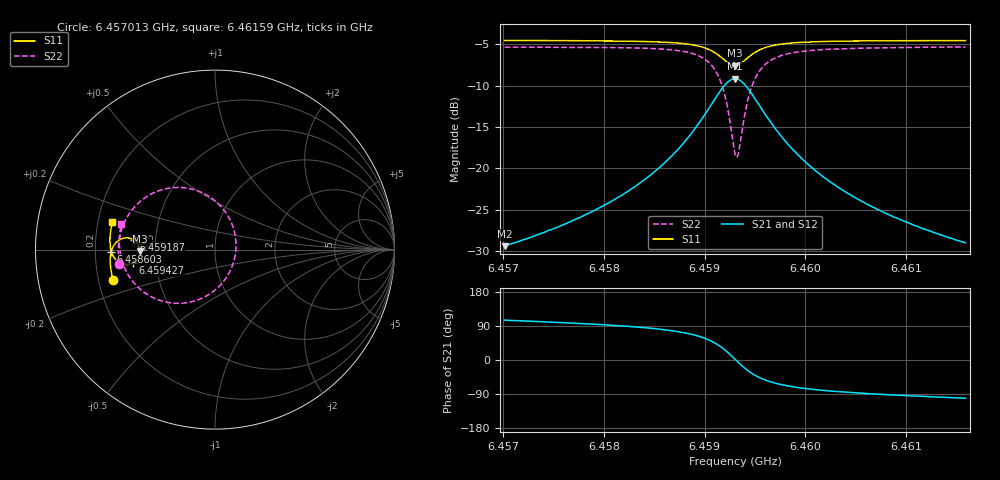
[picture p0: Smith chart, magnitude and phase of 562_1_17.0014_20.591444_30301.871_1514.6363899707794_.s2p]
#  HZ  S  RI  R  50.00
! Rohde & Schwarz Vector Network Analyzer
! Rohde-Schwarz,ZNB20-2Port,1311601062101988,3.16
! Created: UTC 3/20/2024, 11:17:14 PM
! freq[Hz]  re:S11  im:S11  re:S21  im:S21  re:S12  im:S12  re:S22  im:S22
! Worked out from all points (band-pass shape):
!   401 points, 6.457013 GHz to 6.46159 GHz, reference 50 ohm
!   highest |S21| = -9.17 dB at 6.459301 GHz (marker M1); lowest = -29.4 dB at 6.457013 GHz (marker M2)
!   |S21| within 3 dB of the highest: 6.459073 GHz to 6.45953 GHz (457.8 kHz wide, 0.00709 % of centre)
!   lowest |S11| = -7.6 dB at 6.459301 GHz (marker M3), VSWR 2.43, Z = 20.6 - j0.449 ohm
!   |S11| at or under -10 dB: nowhere
!   |S22| runs from -18.7 to -5.3 dB; largest |S21 - S12| = 0.014
!   S11 on the Smith chart (normalised r, x): 6.457013 GHz: 0.26, -0.14; 6.458603 GHz: 0.27, -0.01; 6.459187 GHz: 0.37, +0.05; 6.459427 GHz: 0.37, -0.07; 6.46159 GHz: 0.26, +0.12
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6.4570128e9  -0.5674 -0.1695  -0.0088 0.0326  -0.00703 0.0326  -0.5335 -0.0816
6.4577795e9  -0.5811 -0.1022  -0.00549 0.0508  -0.00275 0.05  -0.5384 0.00859
6.4581914e9  -0.5838 -0.061  0.000363 0.0696  0.00365 0.0682  -0.5302 0.0739
6.4585461e9  -0.5797 -0.0186  0.0146 0.0993  0.0187 0.0965  -0.5038 0.1541
6.4586033e9  -0.578 -0.0107  0.0191 0.1063  0.0232 0.1031  -0.4955 0.1704
6.4588093e9  -0.5648 0.0214  0.0468 0.1386  0.051 0.1336  -0.4433 0.2434
6.458958e9  -0.5421 0.0477  0.0925 0.1693  0.0958 0.1624  -0.359 0.308
6.4590954e9  -0.4978 0.0651  0.1803 0.1856  0.1812 0.1782  -0.1985 0.3461
6.4591869e9  -0.4531 0.0546  0.2706 0.154  0.2709 0.148  -0.0309 0.2948
6.4592556e9  -0.4238 0.0223  0.3313 0.0814  0.3335 0.0761  0.085 0.1638
6.4593013e9  -0.4171 -0.00902  0.3476 0.013  0.3513 0.00601  0.117 0.0356
6.4593128e9  -0.4175 -0.017  0.3473 -0.00492  0.3512 -0.0126  0.1166 0.0017
6.4593357e9  -0.4211 -0.0328  0.3416 -0.0398  0.3456 -0.049  0.1049 -0.0646
6.4593814e9  -0.4368 -0.0589  0.3127 -0.1  0.3148 -0.1121  0.0463 -0.1785
6.4594272e9  -0.4591 -0.0753  0.2701 -0.1412  0.2693 -0.1547  -0.0397 -0.2537
6.4595187e9  -0.5026 -0.0822  0.1847 -0.1722  0.1784 -0.1839  -0.2102 -0.2993
6.4596675e9  -0.5467 -0.0615  0.0963 -0.1579  0.0875 -0.1643  -0.3789 -0.2486
6.4598277e9  -0.5683 -0.0337  0.0513 -0.1296  0.0436 -0.1325  -0.4596 -0.1758
6.460068e9  -0.5809 0.00183  0.0221 -0.0979  0.0162 -0.0984  -0.5076 -0.0929
6.4604227e9  -0.5856 0.044  0.00581 -0.0701  0.00171 -0.0696  -0.5292 -0.011
6.4608346e9  -0.5834 0.0853  -0.00167 -0.0521  -0.00443 -0.0512  -0.5328 0.0552
6.4615898e9  -0.5711 0.1523  -0.00664 -0.0347  -0.00834 -0.0338  -0.5213 0.1447
